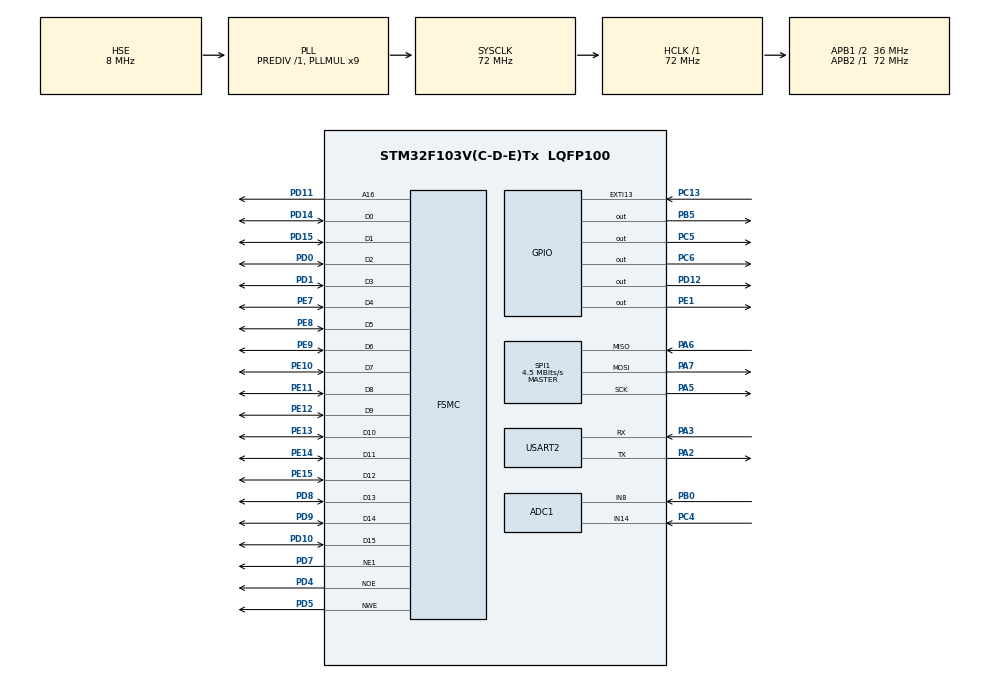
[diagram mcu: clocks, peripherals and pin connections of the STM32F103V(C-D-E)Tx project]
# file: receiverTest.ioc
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ADC1.Channel-7\#ChannelRegularConversion=ADC_CHANNEL_8
ADC1.Channel-9\#ChannelRegularConversion=ADC_CHANNEL_14
ADC1.ContinuousConvMode=ENABLE
ADC1.NbrOfConversion=2
ADC1.NbrOfConversionFlag=1
ADC1.Rank-7\#ChannelRegularConversion=1
ADC1.Rank-9\#ChannelRegularConversion=2
ADC1.SamplingTime-7\#ChannelRegularConversion=ADC_SAMPLETIME_239CYCLES_5
ADC1.SamplingTime-9\#ChannelRegularConversion=ADC_SAMPLETIME_1CYCLE_5
ADC1.master=1
ADC2.Channel-1\#ChannelRegularConversion=ADC_CHANNEL_8
ADC2.NbrOfConversionFlag=1
ADC2.Rank-1\#ChannelRegularConversion=1
ADC2.SamplingTime-1\#ChannelRegularConversion=ADC_SAMPLETIME_1CYCLE_5
Dma.ADC1.0.Direction=DMA_PERIPH_TO_MEMORY
Dma.ADC1.0.Instance=DMA1_Channel1
Dma.ADC1.0.MemDataAlignment=DMA_MDATAALIGN_HALFWORD
Dma.ADC1.0.MemInc=DMA_MINC_ENABLE
Dma.ADC1.0.Mode=DMA_NORMAL
Dma.ADC1.0.PeriphDataAlignment=DMA_PDATAALIGN_HALFWORD
Dma.ADC1.0.PeriphInc=DMA_PINC_DISABLE
Dma.ADC1.0.Priority=DMA_PRIORITY_LOW
Dma.Request0=ADC1
Mcu.Family=STM32F1
Mcu.Name=STM32F103V(C-D-E)Tx
Mcu.Package=LQFP100
NVIC.DMA1_Channel1_IRQn=true\:0\:0\:false\:false\:true\:false\:true\:true
NVIC.EXTI15_10_IRQn=true\:0\:0\:false\:true\:true\:1\:true\:true\:true
NVIC.PriorityGroup=NVIC_PRIORITYGROUP_4
OSC_IN.Mode=HSE-External-Oscillator
OSC_IN.Signal=RCC_OSC_IN
OSC_OUT.Mode=HSE-External-Oscillator
OSC_OUT.Signal=RCC_OSC_OUT
PA13.Mode=Serial_Wire
PA13.Signal=SYS_JTMS-SWDIO
PA14.Mode=Serial_Wire
PA14.Signal=SYS_JTCK-SWCLK
PA2.Mode=Asynchronous
PA2.Signal=USART2_TX
PA3.Mode=Asynchronous
PA3.Signal=USART2_RX
PA5.Mode=Full_Duplex_Master
PA5.Signal=SPI1_SCK
PA6.Mode=Full_Duplex_Master
PA6.Signal=SPI1_MISO
PA7.Mode=Full_Duplex_Master
PA7.Signal=SPI1_MOSI
PB0.Signal=ADCx_IN8
PB5.Signal=GPIO_Output
PC13-TAMPER-RTC.Signal=GPXTI13
PC14-OSC32_IN.Mode=LSE-External-Oscillator
PC14-OSC32_IN.Signal=RCC_OSC32_IN
PC15-OSC32_OUT.Mode=LSE-External-Oscillator
PC15-OSC32_OUT.Signal=RCC_OSC32_OUT
PC4.Signal=ADCx_IN14
PC5.Signal=GPIO_Output
PC6.Signal=GPIO_Output
PD0.Mode=16b-d1
PD0.Signal=FSMC_D2
PD1.Mode=16b-d1
PD1.Signal=FSMC_D3
PD10.Mode=16b-d1
PD10.Signal=FSMC_D15
PD11.Mode=A16_1
PD11.Signal=FSMC_A16
PD12.GPIO_Speed=GPIO_SPEED_FREQ_HIGH
PD12.Signal=GPIO_Output
PD14.Mode=16b-d1
PD14.Signal=FSMC_D0
PD15.Mode=16b-d1
PD15.Signal=FSMC_D1
PD4.Mode=Lcd1
PD4.Signal=FSMC_NOE
PD5.Mode=Lcd1
PD5.Signal=FSMC_NWE
PD7.Mode=NorPsramChipSelect1_1
PD7.Signal=FSMC_NE1
PD8.Mode=16b-d1
PD8.Signal=FSMC_D13
PD9.Mode=16b-d1
PD9.Signal=FSMC_D14
PE1.GPIO_Speed=GPIO_SPEED_FREQ_HIGH
PE1.Signal=GPIO_Output
PE10.Mode=16b-d1
PE10.Signal=FSMC_D7
PE11.Mode=16b-d1
PE11.Signal=FSMC_D8
PE12.Mode=16b-d1
PE12.Signal=FSMC_D9
PE13.Mode=16b-d1
PE13.Signal=FSMC_D10
PE14.Mode=16b-d1
PE14.Signal=FSMC_D11
PE15.Mode=16b-d1
PE15.Signal=FSMC_D12
PE7.Mode=16b-d1
PE7.Signal=FSMC_D4
PE8.Mode=16b-d1
PE8.Signal=FSMC_D5
PE9.Mode=16b-d1
PE9.Signal=FSMC_D6
ProjectManager.HeapSize=0x200
ProjectManager.StackSize=0x400
ProjectManager.TargetToolchain=STM32CubeIDE
RCC.ADCPresc=RCC_ADCPCLK2_DIV6
RCC.AHBFreq_Value=72000000
RCC.APB1CLKDivider=RCC_HCLK_DIV2
RCC.APB1Freq_Value=36000000
RCC.APB1TimFreq_Value=72000000
RCC.APB2Freq_Value=72000000
RCC.APB2TimFreq_Value=72000000
RCC.HCLKFreq_Value=72000000
RCC.PLLMUL=RCC_PLL_MUL9
RCC.PLLSourceVirtual=RCC_PLLSOURCE_HSE
RCC.SYSCLKFreq_VALUE=72000000
RCC.SYSCLKSource=RCC_SYSCLKSOURCE_PLLCLK
RCC.USBFreq_Value=72000000
SH.ADCx_IN14.0=ADC1_IN14,IN14
SH.ADCx_IN8.0=ADC1_IN8,IN8
SH.ADCx_IN8.1=ADC2_IN8,IN8
SPI1.BaudRatePrescaler=SPI_BAUDRATEPRESCALER_16
SPI1.CalculateBaudRate=4.5 MBits/s
SPI1.Direction=SPI_DIRECTION_2LINES
SPI1.Mode=SPI_MODE_MASTER
SPI1.VirtualType=VM_MASTER
USART2.VirtualMode=VM_ASYNC
board=custom

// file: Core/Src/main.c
/* USER CODE BEGIN Header */
/**
  ******************************************************************************
  * @file           : main.c
  * @brief          : Main program body
  ******************************************************************************
  * @attention
  *
  * Copyright (c) 2022 STMicroelectronics.
  * All rights reserved.
  *
  * This software is licensed under terms that can be found in the LICENSE file
  * in the root directory of this software component.
  * If no LICENSE file comes with this software, it is provided AS-IS.
  *
  ******************************************************************************
  */
/* USER CODE END Header */
#include "main.h"

/* USER CODE BEGIN Includes */
#include "NRF24L01.h"
#include "lcd.h"
#include "string.h"
/* USER CODE END Includes */

 ADC_HandleTypeDef hadc1;
ADC_HandleTypeDef hadc2;
DMA_HandleTypeDef hdma_adc1;

SPI_HandleTypeDef hspi1;

UART_HandleTypeDef huart2;

SRAM_HandleTypeDef hsram1;

void SystemClock_Config(void);
static void MX_GPIO_Init(void);
static void MX_FSMC_Init(void);
static void MX_DMA_Init(void);
static void MX_USART2_UART_Init(void);
static void MX_ADC1_Init(void);
static void MX_SPI1_Init(void);
static void MX_ADC2_Init(void);
static void MX_NVIC_Init(void);
/* USER CODE BEGIN PFP */
uint8_t RxAddress[] = {0x00,0xDD,0xCC,0xBB,0xAA};
uint8_t RxData[32];

uint8_t data[50];

/* USER CODE END PFP */

int main(void)
{

  /* MCU Configuration--------------------------------------------------------*/

  /* Reset of all peripherals, Initializes the Flash interface and the Systick. */
  HAL_Init();

  /* Configure the system clock */
  SystemClock_Config();

  /* Initialize all configured peripherals */
  MX_GPIO_Init();
  MX_FSMC_Init();
  MX_DMA_Init();
  MX_USART2_UART_Init();
  MX_ADC1_Init();
  MX_SPI1_Init();
  MX_ADC2_Init();

  /* Initialize interrupts */
  MX_NVIC_Init();
  /* USER CODE BEGIN 2 */
  LCD_INIT();

  NRF24_Init();
  NRF24_RxMode(RxAddress, 10);
  NRF24_ReadAll(data);

  HAL_GPIO_WritePin(GPIOB,GPIO_PIN_5,GPIO_PIN_SET);

  HAL_ADCEx_Calibration_Start(&hadc1);
  HAL_ADCEx_Calibration_Start(&hadc2);

  /* USER CODE END 2 */

  /* Infinite loop */
  /* USER CODE BEGIN WHILE */
  while (1)
  {
	  //uint32_t VR[2] = {};
	  LCD_Clear(0,0,100,20,WHITE);
	  if (isDataAvailable(2) == 1)
	  {
		  LCD_Clear(0,0,100,20,WHITE);
		  NRF24_Receive(RxData);
		  HAL_UART_Transmit(&huart2, RxData, strlen((char *)RxData), 1000);
	  }
	  LCD_DrawString(0,0,RxData);

	  HAL_ADC_Start(&hadc1);
	  HAL_ADC_PollForConversion(&hadc1, 500);
	  uint32_t valx = HAL_ADC_GetValue(&hadc1);

	  HAL_ADC_Start(&hadc2);
	  HAL_ADC_PollForConversion(&hadc2, 500);
	  uint32_t valy = HAL_ADC_GetValue(&hadc2);

	 // HAL_ADC_Start_DMA(&hadc1, VR,2);

	  char xval[10], yval[10];
	  sprintf(xval, "%u\n", valx);
	  sprintf(yval, "%u\n", valy);

	  LCD_Clear(0,20,200,40,WHITE);
	  LCD_DrawString(10,20,"X = ");
	  LCD_DrawString(10,40,"Y = ");
	  LCD_DrawString(40,20,xval);
	  LCD_DrawString(40,40,yval);
	  HAL_Delay(500);

    /* USER CODE END WHILE */

  }
}

void SystemClock_Config(void)
{
  RCC_OscInitTypeDef RCC_OscInitStruct = {0};
  RCC_ClkInitTypeDef RCC_ClkInitStruct = {0};
  RCC_PeriphCLKInitTypeDef PeriphClkInit = {0};

  /** Initializes the RCC Oscillators according to the specified parameters
  * in the RCC_OscInitTypeDef structure.
  */
  RCC_OscInitStruct.OscillatorType = RCC_OSCILLATORTYPE_HSE;
  RCC_OscInitStruct.HSEState = RCC_HSE_ON;
  RCC_OscInitStruct.HSEPredivValue = RCC_HSE_PREDIV_DIV1;
  RCC_OscInitStruct.HSIState = RCC_HSI_ON;
  RCC_OscInitStruct.PLL.PLLState = RCC_PLL_ON;
  RCC_OscInitStruct.PLL.PLLSource = RCC_PLLSOURCE_HSE;
  RCC_OscInitStruct.PLL.PLLMUL = RCC_PLL_MUL9;
  if (HAL_RCC_OscConfig(&RCC_OscInitStruct) != HAL_OK)
  {
    Error_Handler();
  }

  /** Initializes the CPU, AHB and APB buses clocks
  */
  RCC_ClkInitStruct.ClockType = RCC_CLOCKTYPE_HCLK|RCC_CLOCKTYPE_SYSCLK
                              |RCC_CLOCKTYPE_PCLK1|RCC_CLOCKTYPE_PCLK2;
  RCC_ClkInitStruct.SYSCLKSource = RCC_SYSCLKSOURCE_PLLCLK;
  RCC_ClkInitStruct.AHBCLKDivider = RCC_SYSCLK_DIV1;
  RCC_ClkInitStruct.APB1CLKDivider = RCC_HCLK_DIV2;
  RCC_ClkInitStruct.APB2CLKDivider = RCC_HCLK_DIV1;

  if (HAL_RCC_ClockConfig(&RCC_ClkInitStruct, FLASH_LATENCY_2) != HAL_OK)
  {
    Error_Handler();
  }
  PeriphClkInit.PeriphClockSelection = RCC_PERIPHCLK_ADC;
  PeriphClkInit.AdcClockSelection = RCC_ADCPCLK2_DIV6;
  if (HAL_RCCEx_PeriphCLKConfig(&PeriphClkInit) != HAL_OK)
  {
    Error_Handler();
  }
}

/**
  * @brief NVIC Configuration.
  * @retval None
  */
static void MX_NVIC_Init(void)
{
  /* EXTI15_10_IRQn interrupt configuration */
  HAL_NVIC_SetPriority(EXTI15_10_IRQn, 0, 0);
  HAL_NVIC_EnableIRQ(EXTI15_10_IRQn);
}

static void MX_ADC1_Init(void)
{

  ADC_ChannelConfTypeDef sConfig = {0};

  /** Common config
  */
  hadc1.Instance = ADC1;
  hadc1.Init.ScanConvMode = ADC_SCAN_ENABLE;
  hadc1.Init.ContinuousConvMode = ENABLE;
  hadc1.Init.DiscontinuousConvMode = DISABLE;
  hadc1.Init.ExternalTrigConv = ADC_SOFTWARE_START;
  hadc1.Init.DataAlign = ADC_DATAALIGN_RIGHT;
  hadc1.Init.NbrOfConversion = 2;
  if (HAL_ADC_Init(&hadc1) != HAL_OK)
  {
    Error_Handler();
  }

  /** Configure Regular Channel
  */
  sConfig.Channel = ADC_CHANNEL_8;
  sConfig.Rank = ADC_REGULAR_RANK_1;
  sConfig.SamplingTime = ADC_SAMPLETIME_239CYCLES_5;
  if (HAL_ADC_ConfigChannel(&hadc1, &sConfig) != HAL_OK)
  {
    Error_Handler();
  }

  /** Configure Regular Channel
  */
  sConfig.Channel = ADC_CHANNEL_14;
  sConfig.Rank = ADC_REGULAR_RANK_2;
  sConfig.SamplingTime = ADC_SAMPLETIME_1CYCLE_5;
  if (HAL_ADC_ConfigChannel(&hadc1, &sConfig) != HAL_OK)
  {
    Error_Handler();
  }

}

static void MX_ADC2_Init(void)
{

  ADC_ChannelConfTypeDef sConfig = {0};

  /** Common config
  */
  hadc2.Instance = ADC2;
  hadc2.Init.ScanConvMode = ADC_SCAN_DISABLE;
  hadc2.Init.ContinuousConvMode = DISABLE;
  hadc2.Init.DiscontinuousConvMode = DISABLE;
  hadc2.Init.ExternalTrigConv = ADC_SOFTWARE_START;
  hadc2.Init.DataAlign = ADC_DATAALIGN_RIGHT;
  hadc2.Init.NbrOfConversion = 1;
  if (HAL_ADC_Init(&hadc2) != HAL_OK)
  {
    Error_Handler();
  }

  /** Configure Regular Channel
  */
  sConfig.Channel = ADC_CHANNEL_8;
  sConfig.Rank = ADC_REGULAR_RANK_1;
  sConfig.SamplingTime = ADC_SAMPLETIME_1CYCLE_5;
  if (HAL_ADC_ConfigChannel(&hadc2, &sConfig) != HAL_OK)
  {
    Error_Handler();
  }

}

static void MX_SPI1_Init(void)
{

  /* SPI1 parameter configuration*/
  hspi1.Instance = SPI1;
  hspi1.Init.Mode = SPI_MODE_MASTER;
  hspi1.Init.Direction = SPI_DIRECTION_2LINES;
  hspi1.Init.DataSize = SPI_DATASIZE_8BIT;
  hspi1.Init.CLKPolarity = SPI_POLARITY_LOW;
  hspi1.Init.CLKPhase = SPI_PHASE_1EDGE;
  hspi1.Init.NSS = SPI_NSS_SOFT;
  hspi1.Init.BaudRatePrescaler = SPI_BAUDRATEPRESCALER_16;
  hspi1.Init.FirstBit = SPI_FIRSTBIT_MSB;
  hspi1.Init.TIMode = SPI_TIMODE_DISABLE;
  hspi1.Init.CRCCalculation = SPI_CRCCALCULATION_DISABLE;
  hspi1.Init.CRCPolynomial = 10;
  if (HAL_SPI_Init(&hspi1) != HAL_OK)
  {
    Error_Handler();
  }

}

static void MX_USART2_UART_Init(void)
{

  huart2.Instance = USART2;
  huart2.Init.BaudRate = 115200;
  huart2.Init.WordLength = UART_WORDLENGTH_8B;
  huart2.Init.StopBits = UART_STOPBITS_1;
  huart2.Init.Parity = UART_PARITY_NONE;
  huart2.Init.Mode = UART_MODE_TX_RX;
  huart2.Init.HwFlowCtl = UART_HWCONTROL_NONE;
  huart2.Init.OverSampling = UART_OVERSAMPLING_16;
  if (HAL_UART_Init(&huart2) != HAL_OK)
  {
    Error_Handler();
  }

}

static void MX_DMA_Init(void)
{

  /* DMA controller clock enable */
  __HAL_RCC_DMA1_CLK_ENABLE();

  /* DMA interrupt init */
  /* DMA1_Channel1_IRQn interrupt configuration */
  HAL_NVIC_SetPriority(DMA1_Channel1_IRQn, 0, 0);
  HAL_NVIC_EnableIRQ(DMA1_Channel1_IRQn);

}

static void MX_GPIO_Init(void)
{
  GPIO_InitTypeDef GPIO_InitStruct = {0};

  /* GPIO Ports Clock Enable */
  __HAL_RCC_GPIOC_CLK_ENABLE();
  __HAL_RCC_GPIOA_CLK_ENABLE();
  __HAL_RCC_GPIOB_CLK_ENABLE();
  __HAL_RCC_GPIOE_CLK_ENABLE();
  __HAL_RCC_GPIOD_CLK_ENABLE();

  /*Configure GPIO pin Output Level */
  HAL_GPIO_WritePin(GPIOC, GPIO_PIN_5|GPIO_PIN_6, GPIO_PIN_RESET);

  /*Configure GPIO pin Output Level */
  HAL_GPIO_WritePin(GPIOD, GPIO_PIN_12, GPIO_PIN_RESET);

  /*Configure GPIO pin Output Level */
  HAL_GPIO_WritePin(GPIOB, GPIO_PIN_5, GPIO_PIN_RESET);

  /*Configure GPIO pin Output Level */
  HAL_GPIO_WritePin(GPIOE, GPIO_PIN_1, GPIO_PIN_RESET);

  /*Configure GPIO pin : PC13 */
  GPIO_InitStruct.Pin = GPIO_PIN_13;
  GPIO_InitStruct.Mode = GPIO_MODE_IT_RISING;
  GPIO_InitStruct.Pull = GPIO_NOPULL;
  HAL_GPIO_Init(GPIOC, &GPIO_InitStruct);

  /*Configure GPIO pins : PC5 PC6 */
  GPIO_InitStruct.Pin = GPIO_PIN_5|GPIO_PIN_6;
  GPIO_InitStruct.Mode = GPIO_MODE_OUTPUT_PP;
  GPIO_InitStruct.Pull = GPIO_NOPULL;
  GPIO_InitStruct.Speed = GPIO_SPEED_FREQ_LOW;
  HAL_GPIO_Init(GPIOC, &GPIO_InitStruct);

  /*Configure GPIO pin : PD12 */
  GPIO_InitStruct.Pin = GPIO_PIN_12;
  GPIO_InitStruct.Mode = GPIO_MODE_OUTPUT_PP;
  GPIO_InitStruct.Pull = GPIO_NOPULL;
  GPIO_InitStruct.Speed = GPIO_SPEED_FREQ_HIGH;
  HAL_GPIO_Init(GPIOD, &GPIO_InitStruct);

  /*Configure GPIO pin : PB5 */
  GPIO_InitStruct.Pin = GPIO_PIN_5;
  GPIO_InitStruct.Mode = GPIO_MODE_OUTPUT_PP;
  GPIO_InitStruct.Pull = GPIO_NOPULL;
  GPIO_InitStruct.Speed = GPIO_SPEED_FREQ_LOW;
  HAL_GPIO_Init(GPIOB, &GPIO_InitStruct);

  /*Configure GPIO pin : PE1 */
  GPIO_InitStruct.Pin = GPIO_PIN_1;
  GPIO_InitStruct.Mode = GPIO_MODE_OUTPUT_PP;
  GPIO_InitStruct.Pull = GPIO_NOPULL;
  GPIO_InitStruct.Speed = GPIO_SPEED_FREQ_HIGH;
  HAL_GPIO_Init(GPIOE, &GPIO_InitStruct);

}

/* FSMC initialization function */
static void MX_FSMC_Init(void)
{

  FSMC_NORSRAM_TimingTypeDef Timing = {0};

  /** Perform the SRAM1 memory initialization sequence
  */
  hsram1.Instance = FSMC_NORSRAM_DEVICE;
  hsram1.Extended = FSMC_NORSRAM_EXTENDED_DEVICE;
  /* hsram1.Init */
  hsram1.Init.NSBank = FSMC_NORSRAM_BANK1;
  hsram1.Init.DataAddressMux = FSMC_DATA_ADDRESS_MUX_DISABLE;
  hsram1.Init.MemoryType = FSMC_MEMORY_TYPE_SRAM;
  hsram1.Init.MemoryDataWidth = FSMC_NORSRAM_MEM_BUS_WIDTH_16;
  hsram1.Init.BurstAccessMode = FSMC_BURST_ACCESS_MODE_DISABLE;
  hsram1.Init.WaitSignalPolarity = FSMC_WAIT_SIGNAL_POLARITY_LOW;
  hsram1.Init.WrapMode = FSMC_WRAP_MODE_DISABLE;
  hsram1.Init.WaitSignalActive = FSMC_WAIT_TIMING_BEFORE_WS;
  hsram1.Init.WriteOperation = FSMC_WRITE_OPERATION_ENABLE;
  hsram1.Init.WaitSignal = FSMC_WAIT_SIGNAL_DISABLE;
  hsram1.Init.ExtendedMode = FSMC_EXTENDED_MODE_DISABLE;
  hsram1.Init.AsynchronousWait = FSMC_ASYNCHRONOUS_WAIT_DISABLE;
  hsram1.Init.WriteBurst = FSMC_WRITE_BURST_DISABLE;
  /* Timing */
  Timing.AddressSetupTime = 15;
  Timing.AddressHoldTime = 15;
  Timing.DataSetupTime = 255;
  Timing.BusTurnAroundDuration = 15;
  Timing.CLKDivision = 16;
  Timing.DataLatency = 17;
  Timing.AccessMode = FSMC_ACCESS_MODE_A;
  /* ExtTiming */

  if (HAL_SRAM_Init(&hsram1, &Timing, NULL) != HAL_OK)
  {
    Error_Handler( );
  }

  /** Disconnect NADV
  */

  __HAL_AFIO_FSMCNADV_DISCONNECTED();

}

void Error_Handler(void)
{
  __disable_irq();
  while (1)
  {
  }
}
